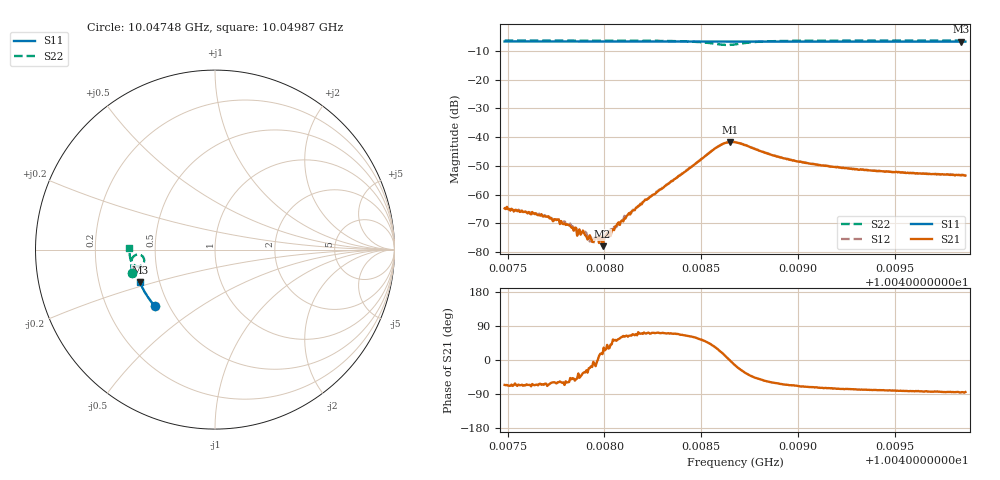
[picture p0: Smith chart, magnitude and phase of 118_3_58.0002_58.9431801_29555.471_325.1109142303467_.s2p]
#  HZ  S  RI  R  50.00
! Rohde & Schwarz Vector Network Analyzer
! Rohde-Schwarz,ZNB20-2Port,1311601062101988,3.16
! Created: UTC 3/21/2024, 12:55:36 AM
! freq[Hz]  re:S11  im:S11  re:S21  im:S21  re:S12  im:S12  re:S22  im:S22
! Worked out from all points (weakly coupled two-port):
!   401 points, 10.04748 GHz to 10.04987 GHz, reference 50 ohm
!   highest |S21| = -41.70 dB at 10.04865 GHz (marker M1); lowest = -77.9 dB at 10.04799 GHz (marker M2)
!   lowest |S11| = -6.8 dB at 10.04984 GHz (marker M3), VSWR 2.68, Z = 19.4 - j8.88 ohm
!   |S11| at or under -10 dB: nowhere
!   |S22| runs from -8.0 to -6.4 dB; largest |S21 - S12| = 0.00058
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1.0047485e10  -0.3368 -0.3133  0.000236 -0.000524  0.000252 -0.000494  -0.4598 -0.1307
1.0047687e10  -0.3456 -0.3028  0.000174 -0.00038  0.000214 -0.000366  -0.463 -0.1163
1.0047753e10  -0.3483 -0.2998  0.00017 -0.000319  0.000206 -0.000301  -0.464 -0.1112
1.00478e10  -0.3504 -0.2972  0.000164 -0.000247  0.000202 -0.000249  -0.4644 -0.1078
1.0047872e10  -0.3533 -0.2933  0.000169 -0.000181  0.000171 -0.000125  -0.4654 -0.102
1.0047884e10  -0.3538 -0.2926  0.00017 -0.000136  0.000181 -0.00013  -0.4655 -0.1012
1.0047901e10  -0.3545 -0.2917  0.000165 -0.000105  0.000197 -0.000111  -0.4657 -0.0999
1.0047931e10  -0.3557 -0.2901  0.000163 -4.92e-05  0.000179 -2.38e-05  -0.466 -0.0975
1.0047991e10  -0.3582 -0.2872  0.000122 3.4e-05  0.000161 8.53e-05  -0.4665 -0.0925
1.0048003e10  -0.3586 -0.2865  0.000165 7.89e-05  0.000154 0.000127  -0.4665 -0.0914
1.0048014e10  -0.359 -0.2858  0.000166 0.000139  0.000201 0.000119  -0.4667 -0.0904
1.0048056e10  -0.3607 -0.2835  0.000167 0.000222  0.000149 0.000232  -0.4671 -0.0868
1.0048133e10  -0.3637 -0.2795  0.000193 0.000407  0.000189 0.000453  -0.4673 -0.0798
1.0048282e10  -0.3695 -0.2713  0.000375 0.00112  0.000316 0.00117  -0.4659 -0.0636
1.004858e10  -0.3799 -0.2545  0.00565 0.00337  0.00547 0.00374  -0.4135 -0.0305
1.0048651e10  -0.3821 -0.251  0.00822 -0.000351  0.00823 0.000188  -0.3949 -0.0655
1.0048675e10  -0.3828 -0.2498  0.00789 -0.00195  0.00811 -0.00143  -0.4 -0.0789
1.0048895e10  -0.3908 -0.2377  0.00215 -0.00401  0.00244 -0.00391  -0.4603 -0.0766
1.0049074e10  -0.3967 -0.2272  0.00109 -0.00323  0.00128 -0.00319  -0.4702 -0.0557
1.0049472e10  -0.4086 -0.2037  0.000435 -0.00245  0.000553 -0.00246  -0.4757 -0.021
1.0049841e10  -0.4181 -0.1814  0.000162 -0.00216  0.000316 -0.00216  -0.4764 0.0063
1.0049865e10  -0.419 -0.18  0.000203 -0.00213  0.000305 -0.00216  -0.4764 0.00795
